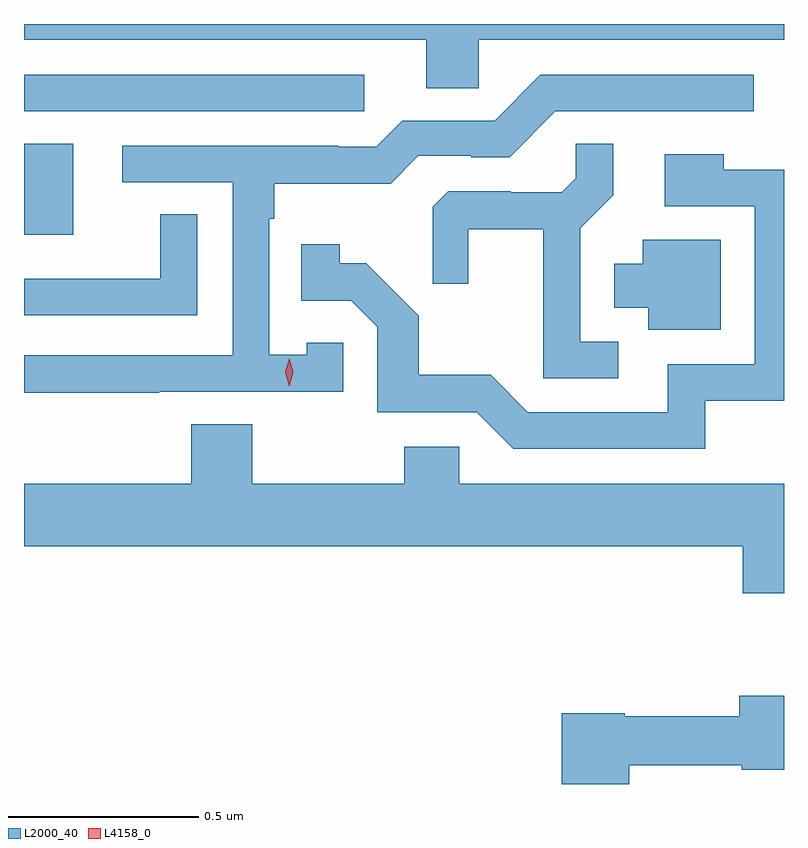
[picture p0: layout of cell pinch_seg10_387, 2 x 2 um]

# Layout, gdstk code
import gdstk
lib = gdstk.Library(unit=1e-6, precision=1e-09)
def R(c, l, rs):  # rectangles x0, y0, x1, y1
    for r in rs: c.add(gdstk.rectangle(r[:2], r[2:], *l))
def P(c, l, *ps):  # polygons
    for p in ps: c.add(gdstk.Polygon(p, *l))
L2000_40 = (2000, 40)
L4158_0 = (4158, 0)

pinch_seg10_387 = lib.new_cell('pinch_seg10_387')
R(pinch_seg10_387, L2000_40, [(508.461,1251.852,508.591,1252.091), (508.461,1252.176,509.356,1252.272)])
P(pinch_seg10_387, L2000_40, [(509.658,1252.364),(510.461,1252.364),(510.461,1252.406),(508.461,1252.406),(508.461,1252.364),(509.519,1252.364),(509.519,1252.237),(509.658,1252.237)],
  [(508.817,1251.438),(509.301,1251.438),(509.301,1251.567),(509.205,1251.567),(509.205,1251.535),(509.106,1251.535),(509.106,1251.893),(509.119,1251.893),(509.119,1251.986),(509.426,1251.986),(509.499,1252.059),(509.638,1252.059),(509.638,1252.056),(509.739,1252.056),(509.859,1252.176),(510.382,1252.176),(510.382,1252.272),(509.82,1252.272),(509.7,1252.152),(509.457,1252.152),(509.388,1252.083),(509.288,1252.083),(509.288,1252.086),(508.719,1252.086),(508.719,1251.99),(509.01,1251.99),(509.01,1251.534),(508.461,1251.534),(508.461,1251.436),(508.817,1251.436)],
  [(510.025,1251.57),(509.925,1251.57),(509.925,1251.869),(510.011,1251.955),(510.011,1252.091),(509.913,1252.091),(509.913,1252),(509.876,1251.963),(509.742,1251.963),(509.742,1251.966),(509.577,1251.966),(509.536,1251.925),(509.536,1251.723),(509.63,1251.723),(509.63,1251.866),(509.828,1251.866),(509.828,1251.474),(510.025,1251.474)],
  [(510.254,1251.414),(510.461,1251.414),(510.461,1252.023),(510.303,1252.023),(510.303,1252.063),(510.147,1252.063),(510.147,1251.927),(510.384,1251.927),(510.384,1251.51),(510.155,1251.51),(510.155,1251.384),(509.787,1251.384),(509.689,1251.483),(509.5,1251.483),(509.5,1251.638),(509.362,1251.776),(509.292,1251.776),(509.292,1251.826),(509.191,1251.826),(509.191,1251.678),(509.322,1251.678),(509.391,1251.609),(509.391,1251.384),(509.652,1251.384),(509.748,1251.288),(510.254,1251.288)],
  [(508.917,1251.905),(508.819,1251.905),(508.819,1251.735),(508.461,1251.735),(508.461,1251.639),(508.917,1251.639)],
  [(510.295,1251.838),(510.089,1251.838),(510.089,1251.775),(510.014,1251.775),(510.014,1251.659),(510.104,1251.659),(510.104,1251.602),(510.295,1251.602)],
  [(510.461,1251.196),(509.607,1251.196),(509.607,1251.294),(509.461,1251.294),(509.461,1251.196),(509.061,1251.196),(509.061,1251.353),(508.901,1251.353),(508.901,1251.196),(508.461,1251.196),(508.461,1251.032),(510.353,1251.032),(510.353,1250.908),(510.461,1250.908)],
  [(510.054,1250.455),(510.35,1250.455),(510.35,1250.444),(510.461,1250.444),(510.461,1250.638),(510.343,1250.638),(510.343,1250.584),(510.042,1250.584),(510.042,1250.592),(509.876,1250.592),(509.876,1250.406),(510.054,1250.406)])
P(pinch_seg10_387, L4158_0, [(509.159,1251.453),(509.159,1251.453),(509.149,1251.489),(509.159,1251.525),(509.159,1251.525),(509.159,1251.525),(509.169,1251.489),(509.159,1251.453)])

lib.write_gds('pinch_seg10_387.gds')
